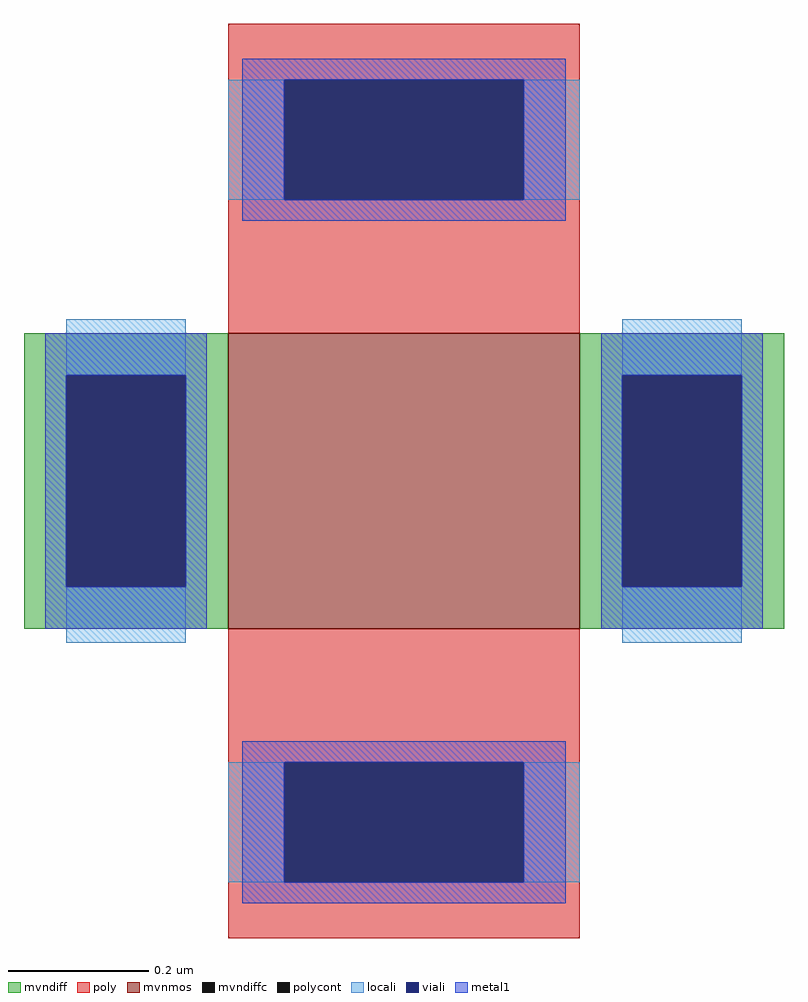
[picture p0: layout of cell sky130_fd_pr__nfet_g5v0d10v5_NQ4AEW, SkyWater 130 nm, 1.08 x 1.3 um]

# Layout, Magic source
magic
tech sky130A
<< mvnmos >>
rect -25 -21 25 21
<< mvndiff >>
rect -54 15 -25 21
rect -54 -15 -48 15
rect -31 -15 -25 15
rect -54 -21 -25 -15
rect 25 15 54 21
rect 25 -15 31 15
rect 48 -15 54 15
rect 25 -21 54 -15
<< mvndiffc >>
rect -48 -15 -31 15
rect 31 -15 48 15
<< poly >>
rect -25 57 25 65
rect -25 40 -17 57
rect 17 40 25 57
rect -25 21 25 40
rect -25 -40 25 -21
rect -25 -57 -17 -40
rect 17 -57 25 -40
rect -25 -65 25 -57
<< polycont >>
rect -17 40 17 57
rect -17 -57 17 -40
<< locali >>
rect -25 40 -17 57
rect 17 40 25 57
rect -48 15 -31 23
rect -48 -23 -31 -15
rect 31 15 48 23
rect 31 -23 48 -15
rect -25 -57 -17 -40
rect 17 -57 25 -40
<< viali >>
rect -17 40 17 57
rect -48 -15 -31 15
rect 31 -15 48 15
rect -17 -57 17 -40
<< metal1 >>
rect -23 57 23 60
rect -23 40 -17 57
rect 17 40 23 57
rect -23 37 23 40
rect -51 15 -28 21
rect -51 -15 -48 15
rect -31 -15 -28 15
rect -51 -21 -28 -15
rect 28 15 51 21
rect 28 -15 31 15
rect 48 -15 51 15
rect 28 -21 51 -15
rect -23 -40 23 -37
rect -23 -57 -17 -40
rect 17 -57 23 -40
rect -23 -60 23 -57
<< properties >>
string gencell sky130_fd_pr__nfet_g5v0d10v5
string library sky130
string parameters w 0.420 l 0.50 m 1 nf 1 diffcov 100 polycov 100 guard 0 glc 1 grc 1 gtc 1 gbc 1 tbcov 100 rlcov 100 topc 1 botc 1 poverlap 0 doverlap 1 lmin 0.50 wmin 0.42 compatible {sky130_fd_pr__nfet_01v8 sky130_fd_pr__nfet_01v8_lvt  sky130_fd_bs_flash__special_sonosfet_star  sky130_fd_pr__nfet_g5v0d10v5 sky130_fd_pr__nfet_05v0_nvt  sky130_fd_pr__nfet_03v3_nvt} full_metal 1 viasrc 100 viadrn 100 viagate 100 viagb 0 viagr 0 viagl 0 viagt 0
<< end >>
